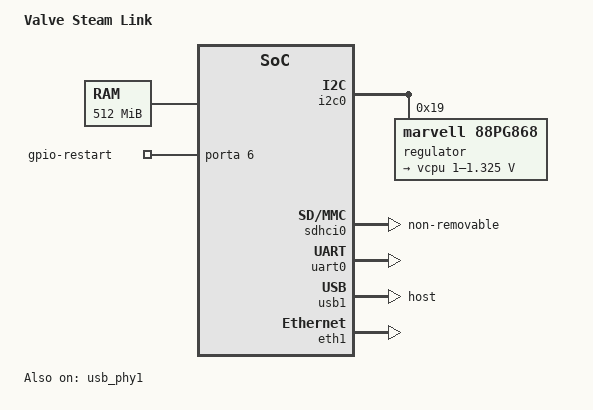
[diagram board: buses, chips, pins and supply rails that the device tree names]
// SPDX-License-Identifier: (GPL-2.0 OR MIT)
/*
 * Copyright 2018 Alexander Monakov <amonakov@gmail.com>
 */
/dts-v1/;

#include "berlin2cd.dtsi"
#include <dt-bindings/gpio/gpio.h>

/ {
	model = "Valve Steam Link";
	compatible = "valve,steamlink", "marvell,berlin2cd", "marvell,berlin";

	memory@0 {
		device_type = "memory";
		reg = <0x00000000 0x20000000>; /* 512 MB */
	};

	gpio-restart {
		compatible = "gpio-restart";
		gpios = <&porta 6 GPIO_ACTIVE_HIGH>;
		active-delay = <100>;
		inactive-delay = <10>;
		wait-delay = <100>;
		priority = <200>;
	};
};

&cpu {
	cpu-supply = <&vcpu>;
	operating-points = <
		/* kHz    uV */
		1000000 1325000
	>;
};

&i2c0 {
	status = "okay";

	/* There are two regulators on the board. One is accessible via I2C,
	 * with buck1 providing SoC power (set up by bootloader to 1.325V or
	 * less depending on leakage value in OTP), and buck2 likely used for
	 * DRAM (providing 1.35V). The other regulator on the opposite side
	 * of the board is probably supplying SDIO and NAND fixed voltages. */
	regulator@19 {
		compatible = "marvell,88pg868";
		reg = <0x19>;

		vcpu: buck1 {
			regulator-boot-on;
			regulator-always-on;
			regulator-min-microvolt = <1000000>;
			regulator-max-microvolt = <1325000>;
		};
	};
};

/* Fixed interface to on-board Marvell 8897 Wi-Fi/Bluetooth/NFC chip. */
&sdhci0 {
	keep-power-in-suspend;
	non-removable;
	status = "okay";
};

&uart0 {
	/* RX/TX are routed to TP50/TP51 on the board. */
	status = "okay";
};

/* The SoC is connected to on-board USB hub that in turn has one downstream
 * port wired to the on-board Steam Controller wireless receiver chip. */
&usb_phy1 { status = "okay"; };

&usb1 {
	dr_mode = "host";
	status = "okay";
};

&eth1 { status = "okay"; };
